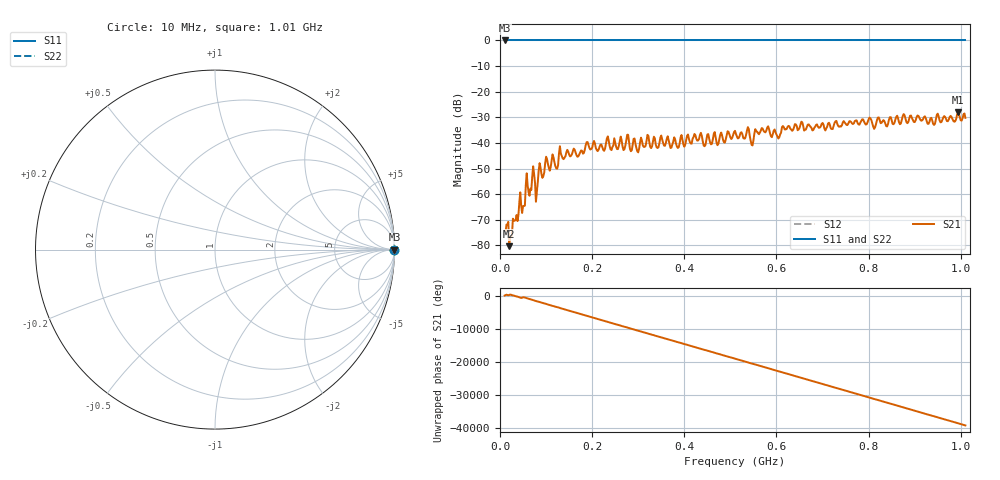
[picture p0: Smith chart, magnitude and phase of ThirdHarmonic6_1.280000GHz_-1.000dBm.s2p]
! 8/16/2025 1:55:28 PM
! C:\ANRITSUVNA\TEMP\TEMP.S2P
! CHANNEL.1
! TR.MEASUREMENT
! RAW.DATA
! RF.CORRECTION.OFF
! AVERAGING.OFF
! IF.BANDWIDTH: 5KHZ
! SWEEPTYPE:  FREQ.SWEEP(Linear)
! Reference Plane Port Info
! PORT:  PORT1  PORT2
! DISTANCE:  0  m  0  m
! TIME:  0  s  0  s
! PHASE.OFFSET:  0  deg.  0  deg.
! LOSS:  0  dB  0  dB
! REF.LOSS:  0  dB  0  dB
! REF.FREQ:  0  Hz  0  Hz
! Power Info
! POWER:  -20  dBm  -20  dBm
! EFF.POWER:  -20  dBm  -20  dBm
! SOURCE.ATTEN:  0  dB  0  dB
! TEST.ATTEN:  0  dB  0  dB
# GHZ S RI R 50.0
! FREQ.GHZ  S11RE  S11IM  S21RE  S21IM  S12RE  S12IM  S22RE  S22IM
!; PortSelection: Port_12
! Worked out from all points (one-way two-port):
!   501 points, 10 MHz to 1.01 GHz, reference 50 ohm
!   highest |S21| = -28.10 dB at 994 MHz (marker M1); lowest = -80.3 dB at 20 MHz (marker M2)
!   lowest |S11| = 0.0 dB at 10 MHz (marker M3)
!   |S11| at or under -10 dB: nowhere
!   |S22| runs from 0.0 to 0.0 dB; largest |S21 - S12| = 1
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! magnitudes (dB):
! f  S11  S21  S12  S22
! 10 MHz  0.0  -75.7  0.0  0.0
! 20 MHz  0.0  -80.3  0.0  0.0
! 42 MHz  0.0  -63.1  0.0  0.0
! 50 MHz  0.0  -64.6  0.0  0.0
! 60 MHz  0.0  -56.6  0.0  0.0
! 64 MHz  0.0  -60.6  0.0  0.0
! 72 MHz  0.0  -49.1  0.0  0.0
! 80 MHz  0.0  -59.2  0.0  0.0
! 86 MHz  0.0  -47.9  0.0  0.0
! 100 MHz  0.0  -45.4  0.0  0.0
! 178 MHz  0.0  -43.1  0.0  0.0
! 234 MHz  0.0  -37.5  0.0  0.0
! 344 MHz  0.0  -41.7  0.0  0.0
! 510 MHz  0.0  -35.3  0.0  0.0
! 538 MHz  0.0  -33.8  0.0  0.0
! 546 MHz  0.0  -40.7  0.0  0.0
! 568 MHz  0.0  -34.2  0.0  0.0
! 604 MHz  0.0  -38.3  0.0  0.0
! 678 MHz  0.0  -35.1  0.0  0.0
! 844 MHz  0.0  -31.0  0.0  0.0
! 994 MHz  0.0  -28.1  0.0  0.0
! 1.01 GHz  0.0  -30.2  0.0  0.0
